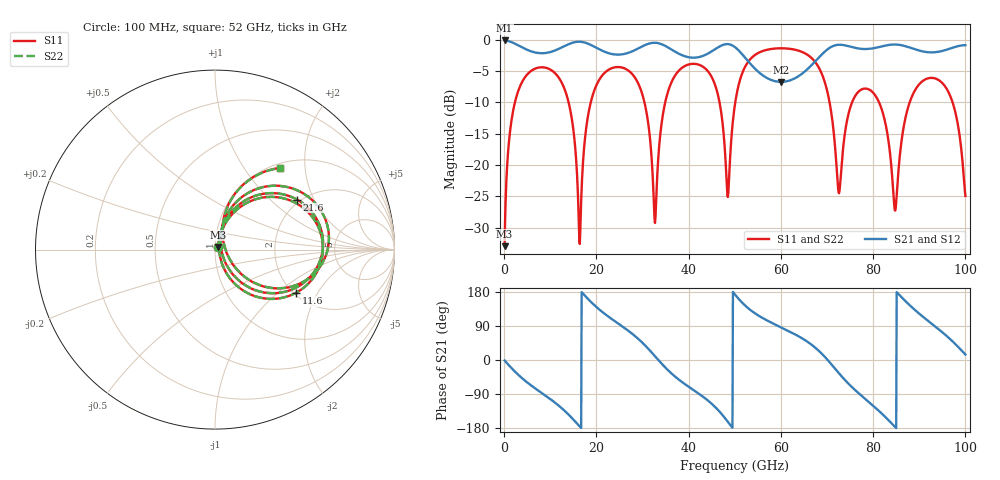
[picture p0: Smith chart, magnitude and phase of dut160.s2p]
! Touchstone file exported from HFSS 2026.1.0
!  File:  C:/ffzhzh/LocalFiles/Ansys_Project_Files/temp_train_TSV_RDL_160_1783648220_26216.aedt
!  Generated:  10:02:32 AM Jul 10, 2026
!  Design:  TSV_RDL
!  Project:  temp_train_TSV_RDL_160_1783648220_26216
! Variables:
!  h_bsmrdl = 2.3um
!  h_ox = 20um
!  h_rdl = 5um
!  h_sub = 60.14um
!  h_tmrdl = 3.89um
!  h_tsv = 60.14um
!  h_via = 3um
!  l_bsmrdl = 150.81um
!  l_sub = 3775.93um
!  l_tmrdl = 698.1um
!  m_sub = 200um
!  pitch = 59.67um
!  r_tsv = 11.03um
!  s_tmrdl = 10um
!  w_bsmrdl = 22.77um
!  w_sub = 500um
!  w_tmrdl = 20.93um
!  x_tsv_center1 = 708.565um
!  x_tsv_center2 = 882.145um
!  x_tsv_center3 = 1601.175um
!  x_tsv_center4 = 1774.755um
!  x_tsv_center5 = 2493.785um
!  x_tsv_center6 = 2667.365um
# GHz S MA R 50.000000
! Terminal data exported
! Port[1] = TM_RDL1_1_T1
! Port[2] = TM_RDL5_1_T1
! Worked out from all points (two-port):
!   1000 points, 100 MHz to 100 GHz, reference 50 ohm
!   highest |S21| = -0.14 dB at 100 MHz (marker M1); lowest = -6.7 dB at 60 GHz (marker M2)
!   |S21| within 3 dB of the highest: start of sweep to 52.54 GHz; 67.86 GHz to end of sweep
!   lowest |S11| = -32.9 dB at 100 MHz (marker M3), VSWR 1.05, Z = 51.7 + j1.59 ohm
!   |S11| at or under -10 dB: 13.97 GHz to 18.78 GHz (4.812 GHz wide, 29.4 % of centre); 70.55 GHz to 75.43 GHz (4.882 GHz wide, 6.69 % of centre); 81.28 GHz to 87.93 GHz (6.649 GHz wide, 7.86 % of centre) (the widest 3 of 7)
!   |S22| runs from -32.9 to -1.4 dB; largest |S21 - S12| = 3.1e-14
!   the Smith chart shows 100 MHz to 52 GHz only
!   S11 on the Smith chart (normalised r, x): 100 MHz: 1.03, +0.03; 11.6 GHz: 2.06, -1.34; 21.6 GHz: 1.91, +1.49; 52 GHz: 1.08, +1.49
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0.1  0.02258 42.9  0.9837 -1.4  0.9837 -1.4  0.02258 42.9
! Gamma 0 0 0 0
! Port Impedance 50 0 50 0
3.2  0.4027 46.4  0.8942 -40.6  0.8942 -40.6  0.4027 46.4
11.6  0.5113 -28.1  0.8355 -118.1  0.8355 -118.1  0.5114 -28.1
16.8  0.06524 67.1  0.9584 179.1  0.9584 179.1  0.06499 67.4
21.6  0.5344 31.5  0.8048 123.7  0.8048 123.7  0.5343 31.6
28.9  0.4599 -30.5  0.8437 57.6  0.8437 57.6  0.4599 -30.4
32.6  0.03757 -12.8  0.943 11.4  0.943 11.4  0.03858 -12.0
33.4  0.1116 71.6  0.9361 0.4  0.9361 0.4  0.112 71.1
36.7  0.4912 46.5  0.8153 -40.1  0.8153 -40.1  0.4912 46.4
44.2  0.5578 -15.3  0.7741 -107.2  0.7741 -107.2  0.5577 -15.3
48.4  0.05795 0.3  0.9202 -161.4  0.9202 -161.4  0.05922 1.0
50.1  0.3152 71.2  0.8673 172.0  0.8673 172.0  0.3157 70.9
52  0.5826 51.4  0.7348 146.6  0.7348 146.6  0.5829 51.3
60  0.8522 -3.9  0.46 86.4  0.46 86.4  0.8523 -4.0
66.7  0.7098 -46.8  0.6283 39.9  0.6283 39.9  0.7097 -46.9
72.6  0.05959 -30.6  0.9093 -35.2  0.9093 -35.2  0.05665 -30.3
75.3  0.307 12.9  0.873 -70.3  0.873 -70.3  0.3068 13.4
83.4  0.1488 -55.0  0.9058 -159.6  0.9058 -159.6  0.1493 -54.4
84.8  0.04336 7.0  0.9132 -177.2  0.9132 -177.2  0.04451 6.8
91.3  0.4814 17.4  0.7975 109.2  0.7975 109.2  0.4814 17.4
97  0.3337 -32.4  0.8552 51.7  0.8552 51.7  0.3337 -32.4
100  0.05674 -5.4  0.9022 14.5  0.9022 14.5  0.05637 -5.5
